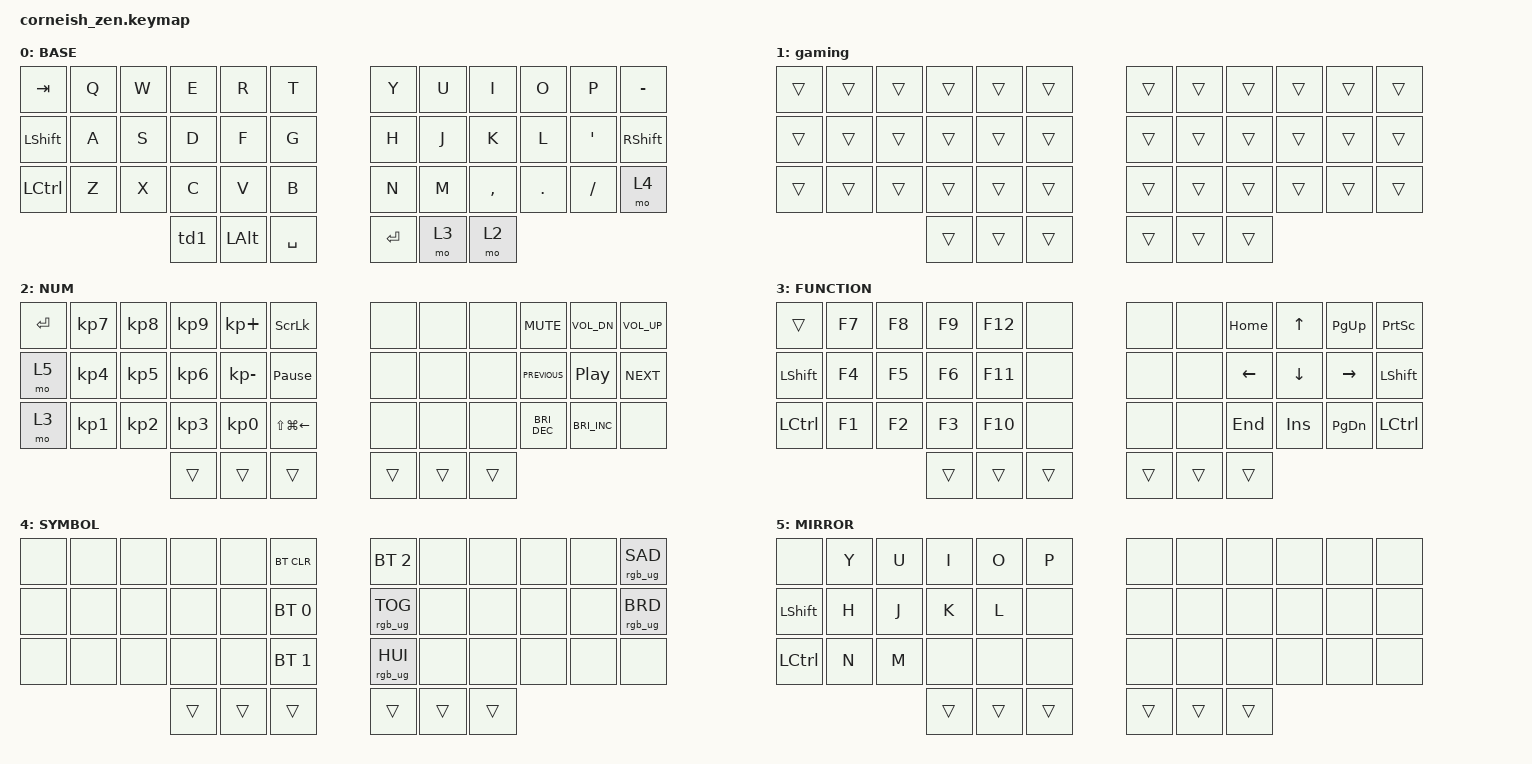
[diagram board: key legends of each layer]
/*
 * Copyright (c) 2020 The ZMK Contributors
 *
 * SPDX-License-Identifier: MIT
 */

#include <behaviors.dtsi>
#include <dt-bindings/zmk/bt.h>
#include <dt-bindings/zmk/keys.h>
#include <dt-bindings/zmk/rgb.h>

/ {
    chosen {
        zmk,matrix_transform = &default_transform;

        // zmk,matrix_transform = &five_column_transform;
    };
};

/ {
    behaviors {
        td0: td0 {
            compatible = "zmk,behavior-tap-dance";
            label = "TD0";
            #binding-cells = <0>;
            bindings = <&kp LEFT_SHIFT>, <&kp CAPSLOCK>;
        };

        td1: td1 {
            compatible = "zmk,behavior-tap-dance";
            label = "TD1";
            #binding-cells = <0>;
            bindings = <&mo 2>, <&kp LEFT_GUI>;
        };
    };

    combos {
        compatible = "zmk,combos";

        bksp {
            bindings = <&kp BACKSPACE>;
            key-positions = <20 21>;
            layers = <0>;
        };

        esc {
            bindings = <&kp ESCAPE>;
            key-positions = <0 1>;
            layers = <0>;
        };

        Delete {
            bindings = <&kp DEL>;
            key-positions = <1 2>;
            layers = <0>;
        };

        one {
            bindings = <&kp NUMBER_1>;
            key-positions = <13 14>;
            layers = <0>;
        };

        two {
            bindings = <&kp NUMBER_2>;
            key-positions = <15 14>;
            layers = <0>;
        };

        three {
            bindings = <&kp NUMBER_3>;
            key-positions = <27 26>;
            layers = <0>;
        };

        four {
            bindings = <&kp NUMBER_4>;
            key-positions = <26 25>;
            layers = <0>;
        };

        five {
            bindings = <&kp N5>;
            key-positions = <27 28>;
            layers = <0>;
        };

        six {
            bindings = <&kp NUMBER_6>;
            key-positions = <15 16>;
            layers = <0>;
        };

        seven {
            bindings = <&kp N7>;
            key-positions = <15 26>;
            layers = <0>;
        };

        eight {
            bindings = <&kp N8>;
            key-positions = <16 27>;
            layers = <0>;
        };

        nine {
            bindings = <&kp N9>;
            key-positions = <25 14>;
            layers = <0>;
        };

        zero {
            bindings = <&kp N0>;
            key-positions = <14 27>;
            layers = <0>;
        };

        tiret {
            bindings = <&kp MINUS>;
            key-positions = <15 28>;
            layers = <0>;
        };

        equal {
            bindings = <&kp EQUAL>;
            key-positions = <13 26>;
            layers = <0>;
        };

        gaming {
            bindings = <&tog 0>;
            key-positions = <35 23 11>;
        };
    };

    keymap {
        compatible = "zmk,keymap";

        base {
            display-name = "BASE";
            bindings = <
&kp TAB         &kp Q  &kp W  &kp E  &kp R         &kp T        &kp Y      &kp U  &kp I      &kp O    &kp P      &kp MINUS
&kp LEFT_SHIFT  &kp A  &kp S  &kp D  &kp F         &kp G        &kp H      &kp J  &kp K      &kp L    &kp APOS   &kp RSHFT
&kp LCTRL       &kp Z  &kp X  &kp C  &kp V         &kp B        &kp N      &kp M  &kp COMMA  &kp DOT  &kp SLASH  &mo 4
                              &td1   &kp LEFT_ALT  &kp SPACE    &kp ENTER  &mo 3  &mo 2
            >;
        };

        gaming {
            bindings = <
&trans  &trans  &trans  &trans  &trans  &trans    &trans  &trans  &trans  &trans  &trans  &trans
&trans  &trans  &trans  &trans  &trans  &trans    &trans  &trans  &trans  &trans  &trans  &trans
&trans  &trans  &trans  &trans  &trans  &trans    &trans  &trans  &trans  &trans  &trans  &trans
                        &trans  &trans  &trans    &trans  &trans  &trans
            >;
        };

        numpad_media {
            display-name = "NUM";
            bindings = <
&kp ENTER  &kp KP_NUMBER_7  &kp KP_NUMBER_8  &kp KP_N9        &kp KP_PLUS   &kp SCROLLLOCK      &none   &none   &none   &kp C_MUTE            &kp C_VOL_DN          &kp C_VOLUME_UP
&mo 5      &kp KP_NUMBER_4  &kp KP_NUMBER_5  &kp KP_N6        &kp KP_MINUS  &kp PAUSE_BREAK     &none   &none   &none   &kp C_PREVIOUS        &kp C_PLAY_PAUSE      &kp C_NEXT
&mo 3      &kp KP_NUMBER_1  &kp KP_NUMBER_2  &kp KP_NUMBER_3  &kp KP_N0     &kp LS(LG(LEFT))    &none   &none   &none   &kp C_BRIGHTNESS_DEC  &kp C_BRIGHTNESS_INC  &none
                                             &trans           &trans        &trans              &trans  &trans  &trans
            >;
        };

        function_nav {
            display-name = "FUNCTION";
            bindings = <
&trans          &kp F7  &kp F8  &kp F9  &kp F12  &none     &none   &none   &kp HOME        &kp UP_ARROW    &kp PAGE_UP    &kp PRINTSCREEN
&kp LEFT_SHIFT  &kp F4  &kp F5  &kp F6  &kp F11  &none     &none   &none   &kp LEFT_ARROW  &kp DOWN_ARROW  &kp RIGHT      &kp LEFT_SHIFT
&kp LCTRL       &kp F1  &kp F2  &kp F3  &kp F10  &none     &none   &none   &kp END         &kp INSERT      &kp PAGE_DOWN  &kp LCTRL
                                &trans  &trans   &trans    &trans  &trans  &trans
            >;
        };

        symbol {
            bindings = <
&none  &none  &none  &none   &none   &bt BT_CLR      &bt BT_SEL 2     &none   &none   &none  &none  &rgb_ug RGB_SAD
&none  &none  &none  &none   &none   &bt BT_SEL 0    &rgb_ug RGB_TOG  &none   &none   &none  &none  &rgb_ug RGB_BRD
&none  &none  &none  &none   &none   &bt BT_SEL 1    &rgb_ug RGB_HUI  &none   &none   &none  &none  &none
                     &trans  &trans  &trans          &trans           &trans  &trans
            >;

            label = "SYMBOL";
        };

        mirror {
            bindings = <
&none           &kp Y  &kp U  &kp I   &kp O   &kp P     &none   &none   &none   &none  &none  &none
&kp LEFT_SHIFT  &kp H  &kp J  &kp K   &kp L   &none     &none   &none   &none   &none  &none  &none
&kp LCTRL       &kp N  &kp M  &none   &none   &none     &none   &none   &none   &none  &none  &none
                              &trans  &trans  &trans    &trans  &trans  &trans
            >;

            label = "MIRROR";
        };
    };

    conditional_layers { compatible = "zmk,conditional-layers"; };
};
